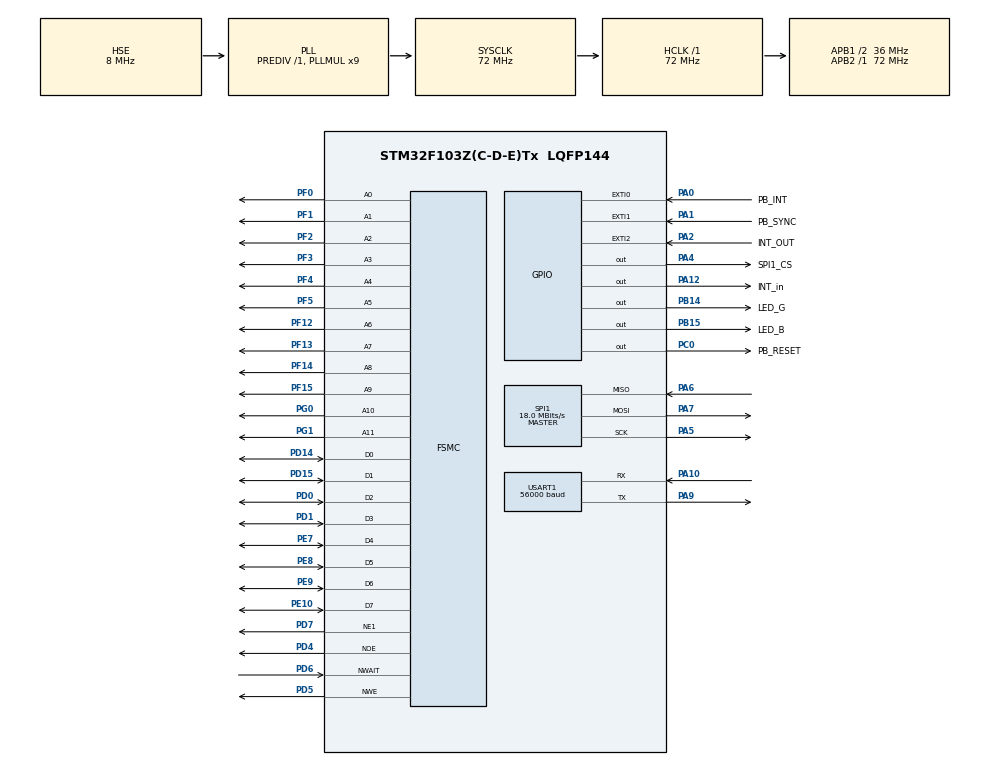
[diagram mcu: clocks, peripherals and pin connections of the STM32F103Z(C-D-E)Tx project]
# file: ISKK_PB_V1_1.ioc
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Dma.Request0=USART1_RX
Dma.Request1=USART1_TX
Dma.USART1_RX.0.Direction=DMA_PERIPH_TO_MEMORY
Dma.USART1_RX.0.Instance=DMA1_Channel5
Dma.USART1_RX.0.MemDataAlignment=DMA_MDATAALIGN_BYTE
Dma.USART1_RX.0.MemInc=DMA_MINC_ENABLE
Dma.USART1_RX.0.Mode=DMA_CIRCULAR
Dma.USART1_RX.0.PeriphDataAlignment=DMA_PDATAALIGN_BYTE
Dma.USART1_RX.0.PeriphInc=DMA_PINC_DISABLE
Dma.USART1_RX.0.Priority=DMA_PRIORITY_LOW
Dma.USART1_TX.1.Direction=DMA_MEMORY_TO_PERIPH
Dma.USART1_TX.1.Instance=DMA1_Channel4
Dma.USART1_TX.1.MemDataAlignment=DMA_MDATAALIGN_BYTE
Dma.USART1_TX.1.MemInc=DMA_MINC_ENABLE
Dma.USART1_TX.1.Mode=DMA_NORMAL
Dma.USART1_TX.1.PeriphDataAlignment=DMA_PDATAALIGN_BYTE
Dma.USART1_TX.1.PeriphInc=DMA_PINC_DISABLE
Dma.USART1_TX.1.Priority=DMA_PRIORITY_LOW
FSMC.AddressSetupTime1=4
FSMC.BusTurnAroundDuration1=8
FSMC.DataSetupTime1=16
FSMC.WaitSignalPolarity1=FSMC_WAIT_SIGNAL_POLARITY_HIGH
FSMC.WriteOperation1=FSMC_WRITE_OPERATION_ENABLE
Mcu.Family=STM32F1
Mcu.Name=STM32F103Z(C-D-E)Tx
Mcu.Package=LQFP144
NVIC.DMA1_Channel4_IRQn=true\:0\:0\:false\:false\:true
NVIC.DMA1_Channel5_IRQn=true\:0\:0\:false\:false\:true
NVIC.EXTI0_IRQn=true\:0\:0\:false\:true\:true\:1
NVIC.EXTI1_IRQn=true\:0\:0\:false\:true\:true\:2
NVIC.EXTI2_IRQn=true\:0\:0\:false\:false\:true
NVIC.PriorityGroup=NVIC_PRIORITYGROUP_4
NVIC.SPI1_IRQn=true\:0\:0\:false\:false\:true
NVIC.USART1_IRQn=true\:0\:0\:false\:false\:true
OSC_IN.Mode=HSE-External-Oscillator
OSC_IN.Signal=RCC_OSC_IN
OSC_OUT.Mode=HSE-External-Oscillator
OSC_OUT.Signal=RCC_OSC_OUT
PA0-WKUP.GPIO_Label=PB_INT
PA0-WKUP.GPIO_ModeDefaultEXTI=GPIO_MODE_IT_FALLING
PA0-WKUP.Signal=GPXTI0
PA1.GPIO_Label=PB_SYNC
PA1.GPIO_ModeDefaultEXTI=GPIO_MODE_IT_RISING_FALLING
PA1.Signal=GPXTI1
PA10.Mode=Asynchronous
PA10.Signal=USART1_RX
PA12.GPIO_Label=INT_in
PA12.Signal=GPIO_Output
PA13.Mode=Trace_Asynchronous_SW
PA13.Signal=SYS_JTMS-SWDIO
PA14.Mode=Trace_Asynchronous_SW
PA14.Signal=SYS_JTCK-SWCLK
PA2.GPIO_Label=INT_OUT
PA2.GPIO_ModeDefaultEXTI=GPIO_MODE_IT_RISING_FALLING
PA2.Signal=GPXTI2
PA4.GPIO_Label=SPI1_CS
PA4.Signal=GPIO_Output
PA5.Mode=Full_Duplex_Master
PA5.Signal=SPI1_SCK
PA6.Mode=Full_Duplex_Master
PA6.Signal=SPI1_MISO
PA7.Mode=Full_Duplex_Master
PA7.Signal=SPI1_MOSI
PA9.Mode=Asynchronous
PA9.Signal=USART1_TX
PB14.GPIO_Label=LED_G
PB14.Signal=GPIO_Output
PB15.GPIO_Label=LED_B
PB15.Signal=GPIO_Output
PB3.Mode=Trace_Asynchronous_SW
PB3.Signal=SYS_JTDO-TRACESWO
PC0.GPIO_Label=PB_RESET
PC0.Signal=GPIO_Output
PD0.Signal=FSMC_D2_DA2
PD1.Signal=FSMC_D3_DA3
PD14.Signal=FSMC_D0_DA0
PD15.Signal=FSMC_D1_DA1
PD4.Signal=FSMC_NOE
PD5.Signal=FSMC_NWE
PD6.Signal=FSMC_NWAIT
PD7.Mode=NorPsramChipSelect1_1
PD7.Signal=FSMC_NE1
PE10.Signal=FSMC_D7_DA7
PE7.Signal=FSMC_D4_DA4
PE8.Signal=FSMC_D5_DA5
PE9.Signal=FSMC_D6_DA6
PF0.Signal=FSMC_A0
PF1.Signal=FSMC_A1
PF12.Signal=FSMC_A6
PF13.Signal=FSMC_A7
PF14.Signal=FSMC_A8
PF15.Signal=FSMC_A9
PF2.Signal=FSMC_A2
PF3.Signal=FSMC_A3
PF4.Signal=FSMC_A4
PF5.Signal=FSMC_A5
PG0.Signal=FSMC_A10
PG1.Signal=FSMC_A11
ProjectManager.HeapSize=0x200
ProjectManager.StackSize=0x400
ProjectManager.TargetToolchain=SW4STM32
RCC.AHBFreq_Value=72000000
RCC.APB1CLKDivider=RCC_HCLK_DIV2
RCC.APB1Freq_Value=36000000
RCC.APB1TimFreq_Value=72000000
RCC.APB2Freq_Value=72000000
RCC.APB2TimFreq_Value=72000000
RCC.EnbaleCSS=true
RCC.HCLKFreq_Value=72000000
RCC.PLLMUL=RCC_PLL_MUL9
RCC.PLLSourceVirtual=RCC_PLLSOURCE_HSE
RCC.SYSCLKFreq_VALUE=72000000
RCC.SYSCLKSource=RCC_SYSCLKSOURCE_PLLCLK
RCC.USBFreq_Value=72000000
SH.FSMC_A0.0=FSMC_A0,12b-a1
SH.FSMC_A1.0=FSMC_A1,12b-a1
SH.FSMC_A10.0=FSMC_A10,12b-a1
SH.FSMC_A11.0=FSMC_A11,12b-a1
SH.FSMC_A2.0=FSMC_A2,12b-a1
SH.FSMC_A3.0=FSMC_A3,12b-a1
SH.FSMC_A4.0=FSMC_A4,12b-a1
SH.FSMC_A5.0=FSMC_A5,12b-a1
SH.FSMC_A6.0=FSMC_A6,12b-a1
SH.FSMC_A7.0=FSMC_A7,12b-a1
SH.FSMC_A8.0=FSMC_A8,12b-a1
SH.FSMC_A9.0=FSMC_A9,12b-a1
SH.FSMC_D0_DA0.0=FSMC_D0,8b-d1
SH.FSMC_D1_DA1.0=FSMC_D1,8b-d1
SH.FSMC_D2_DA2.0=FSMC_D2,8b-d1
SH.FSMC_D3_DA3.0=FSMC_D3,8b-d1
SH.FSMC_D4_DA4.0=FSMC_D4,8b-d1
SH.FSMC_D5_DA5.0=FSMC_D5,8b-d1
SH.FSMC_D6_DA6.0=FSMC_D6,8b-d1
SH.FSMC_D7_DA7.0=FSMC_D7,8b-d1
SH.FSMC_NOE.0=FSMC_NOE,Sram1
SH.FSMC_NWAIT.0=FSMC_NWAIT,AsynchronousWait1
SH.FSMC_NWE.0=FSMC_NWE,Sram1
SPI1.BaudRatePrescaler=SPI_BAUDRATEPRESCALER_4
SPI1.CalculateBaudRate=18.0 MBits/s
SPI1.Direction=SPI_DIRECTION_2LINES
SPI1.Mode=SPI_MODE_MASTER
SPI1.VirtualType=VM_MASTER
USART1.BaudRate=56000
USART1.VirtualMode=VM_ASYNC
board=ISKK_PB_V1_1

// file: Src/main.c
/**
  ******************************************************************************
  * File Name          : main.c
  * Description        : Main program body
  ******************************************************************************
  ** This notice applies to any and all portions of this file
  * that are not between comment pairs USER CODE BEGIN and
  * USER CODE END. Other portions of this file, whether
  * inserted by the user or by software development tools
  * are owned by their respective copyright owners.
  *
  * COPYRIGHT(c) 2017 STMicroelectronics
  *
  * Redistribution and use in source and binary forms, with or without modification,
  * are permitted provided that the following conditions are met:
  *   1. Redistributions of source code must retain the above copyright notice,
  *      this list of conditions and the following disclaimer.
  *   2. Redistributions in binary form must reproduce the above copyright notice,
  *      this list of conditions and the following disclaimer in the documentation
  *      and/or other materials provided with the distribution.
  *   3. Neither the name of STMicroelectronics nor the names of its contributors
  *      may be used to endorse or promote products derived from this software
  *      without specific prior written permission.
  *
  * THIS SOFTWARE IS PROVIDED BY THE COPYRIGHT HOLDERS AND CONTRIBUTORS "AS IS"
  * AND ANY EXPRESS OR IMPLIED WARRANTIES, INCLUDING, BUT NOT LIMITED TO, THE
  * IMPLIED WARRANTIES OF MERCHANTABILITY AND FITNESS FOR A PARTICULAR PURPOSE ARE
  * DISCLAIMED. IN NO EVENT SHALL THE COPYRIGHT HOLDER OR CONTRIBUTORS BE LIABLE
  * FOR ANY DIRECT, INDIRECT, INCIDENTAL, SPECIAL, EXEMPLARY, OR CONSEQUENTIAL
  * DAMAGES (INCLUDING, BUT NOT LIMITED TO, PROCUREMENT OF SUBSTITUTE GOODS OR
  * SERVICES; LOSS OF USE, DATA, OR PROFITS; OR BUSINESS INTERRUPTION) HOWEVER
  * CAUSED AND ON ANY THEORY OF LIABILITY, WHETHER IN CONTRACT, STRICT LIABILITY,
  * OR TORT (INCLUDING NEGLIGENCE OR OTHERWISE) ARISING IN ANY WAY OUT OF THE USE
  * OF THIS SOFTWARE, EVEN IF ADVISED OF THE POSSIBILITY OF SUCH DAMAGE.
  *
  ******************************************************************************
  */
#include "main.h"
#include "stm32f1xx_hal.h"
#include "dma.h"
#include "spi.h"
#include "usart.h"
#include "gpio.h"
#include "fsmc.h"

/* USER CODE BEGIN Includes */
#include "ISKK.h"
#include "platform.h"
#include "DpAppl.h"
/* USER CODE END Includes */

/* USER CODE BEGIN PV */
/* Private variables ---------------------------------------------------------*/

/* USER CODE END PV */

void SystemClock_Config(void);
static void MX_NVIC_Init(void);

/* USER CODE BEGIN PFP */
/* Private function prototypes -----------------------------------------------*/
void HAL_GPIO_EXTI_Callback(uint16_t GPIO_Pin) {
	if (GPIO_Pin == PB_SYNC_Pin) {
		HAL_GPIO_TogglePin(GPIOB,GPIO_PIN_15);
	}
	if(GPIO_Pin == PB_INT_Pin)
	{
		VPC3_Isr();
	}
	if(GPIO_Pin == INT_OUT_Pin)
	{
		  HAL_UART_Receive_DMA(&huart1,UART1.RECESIEVE_BUFFOR_TAB,58);
		//UART1.RECESIEVE_BUFFOR_INDEX=0;
	}
}
/* USER CODE END PFP */

/* USER CODE BEGIN 0 */

void DpAppl_SetResetVPC3Channel1( void )
{
	HAL_GPIO_WritePin(GPIOC,GPIO_PIN_0,GPIO_PIN_SET);
}//void DpAppl_SetResetVPC3Channel1( void )
void DpAppl_ClrResetVPC3Channel1(void )
{
	HAL_GPIO_WritePin(GPIOC,GPIO_PIN_0,GPIO_PIN_RESET);
}
void DpAppl_EnableInterruptVPC3Channel1( void )
{

}//void DpAppl_EnableInterruptVPC3Channel1( void )
void DpAppl_DisableInterruptVPC3Channel1( void )
{
   /** @todo Add your own code here! */
}//void DpAppl_DisableInterruptVPC3Channel1( void )
void DpAppl_EnableAllInterrupts( void )
{
   /** @todo Add your own code here! */
}//void DpAppl_EnableAllInterrupts( void )
void DpAppl_DisableAllInterrupts( void )
{
   /** @todo Add your own code here! */
}//void DpAppl_DisableAllInterrupts( void )
void Vpc3Wait_1ms( void )
{
  HAL_Delay(2);
}//void Vpc3Wait_1ms( void )
void TestVpc3_01(void) {
	volatile uint8_t bValue;

	DpAppl_SetResetVPC3Channel1();
	Vpc3Wait_1ms();
	DpAppl_ClrResetVPC3Channel1();

	while (1) {
		bValue = *((unsigned char *) 0x60000005); //address depends on hardware!!!!!
	} //while(1)
} //void TestVpc3_01( void )

/* USER CODE END 0 */

int main(void)
{

  /* MCU Configuration----------------------------------------------------------*/

  /* Reset of all peripherals, Initializes the Flash interface and the Systick. */
  HAL_Init();

  /* Configure the system clock */
  SystemClock_Config();

  /* Initialize all configured peripherals */
  MX_GPIO_Init();
  MX_DMA_Init();
  MX_FSMC_Init();
  MX_SPI1_Init();
  MX_USART1_UART_Init();

  /* Initialize interrupts */
  MX_NVIC_Init();

  /* USER CODE BEGIN 2 */
  //HAL_UART_Receive_DMA(&huart1,&UART1.RECESIEVE_BUFFOR,1);
  //TestVpc3_01();
  DpAppl_SetResetVPC3Channel1();
  ISKK_Init();

  /* USER CODE END 2 */

  /* Infinite loop */
  /* USER CODE BEGIN WHILE */

  //Set PA12(INT_in) on LOW; Master detect interface
  HAL_GPIO_WritePin(GPIOA,GPIO_PIN_12,GPIO_PIN_RESET);
  Main_ISKK.ISKK_Interface.ISKK_INT_IN=ISKK_INT_IN_Ready;
  //Wait on PA2(INT_out) on LOW; Master ready to start send
  //while(HAL_GPIO_ReadPin(INT_out_GPIO_Port,INT_out_Pin)==1);
  //sMain_ISKK.pSISKK_Interface.pISKK_INT_OUT=ISKK_INT_OUT_Ready;

  //SSK_To_ISKK.MyProfibusAddress=7;
  //DpAppl_ProfibusInit();

  while(SSK_To_ISKK.MyProfibusAddress ==0)
  {
	  UART_SSK2ISKK();
	  if(SSK_To_ISKK.MyProfibusAddress !=0)	  DpAppl_ProfibusInit();

  }

  while (1)
  {
  /* USER CODE END WHILE */

  /* USER CODE BEGIN 3 */
	  UART_SSK2ISKK();
	  DpAppl_ProfibusMain();

  }
  /* USER CODE END 3 */

}

/** System Clock Configuration
*/
void SystemClock_Config(void)
{

  RCC_OscInitTypeDef RCC_OscInitStruct;
  RCC_ClkInitTypeDef RCC_ClkInitStruct;

    /**Initializes the CPU, AHB and APB busses clocks
    */
  RCC_OscInitStruct.OscillatorType = RCC_OSCILLATORTYPE_HSE;
  RCC_OscInitStruct.HSEState = RCC_HSE_ON;
  RCC_OscInitStruct.HSEPredivValue = RCC_HSE_PREDIV_DIV1;
  RCC_OscInitStruct.HSIState = RCC_HSI_ON;
  RCC_OscInitStruct.PLL.PLLState = RCC_PLL_ON;
  RCC_OscInitStruct.PLL.PLLSource = RCC_PLLSOURCE_HSE;
  RCC_OscInitStruct.PLL.PLLMUL = RCC_PLL_MUL9;
  if (HAL_RCC_OscConfig(&RCC_OscInitStruct) != HAL_OK)
  {
    _Error_Handler(__FILE__, __LINE__);
  }

    /**Initializes the CPU, AHB and APB busses clocks
    */
  RCC_ClkInitStruct.ClockType = RCC_CLOCKTYPE_HCLK|RCC_CLOCKTYPE_SYSCLK
                              |RCC_CLOCKTYPE_PCLK1|RCC_CLOCKTYPE_PCLK2;
  RCC_ClkInitStruct.SYSCLKSource = RCC_SYSCLKSOURCE_PLLCLK;
  RCC_ClkInitStruct.AHBCLKDivider = RCC_SYSCLK_DIV1;
  RCC_ClkInitStruct.APB1CLKDivider = RCC_HCLK_DIV2;
  RCC_ClkInitStruct.APB2CLKDivider = RCC_HCLK_DIV1;

  if (HAL_RCC_ClockConfig(&RCC_ClkInitStruct, FLASH_LATENCY_2) != HAL_OK)
  {
    _Error_Handler(__FILE__, __LINE__);
  }

    /**Enables the Clock Security System
    */
  HAL_RCC_EnableCSS();

    /**Configure the Systick interrupt time
    */
  HAL_SYSTICK_Config(HAL_RCC_GetHCLKFreq()/1000);

    /**Configure the Systick
    */
  HAL_SYSTICK_CLKSourceConfig(SYSTICK_CLKSOURCE_HCLK);

  /* SysTick_IRQn interrupt configuration */
  HAL_NVIC_SetPriority(SysTick_IRQn, 0, 0);
}

/** NVIC Configuration
*/
static void MX_NVIC_Init(void)
{
  /* EXTI0_IRQn interrupt configuration */
  HAL_NVIC_SetPriority(EXTI0_IRQn, 0, 0);
  HAL_NVIC_EnableIRQ(EXTI0_IRQn);
  /* EXTI1_IRQn interrupt configuration */
  HAL_NVIC_SetPriority(EXTI1_IRQn, 0, 0);
  HAL_NVIC_EnableIRQ(EXTI1_IRQn);
}

void _Error_Handler(char * file, int line)
{
  while(1)
  {
  }
}

/************************ (C) COPYRIGHT STMicroelectronics *****END OF FILE****/
